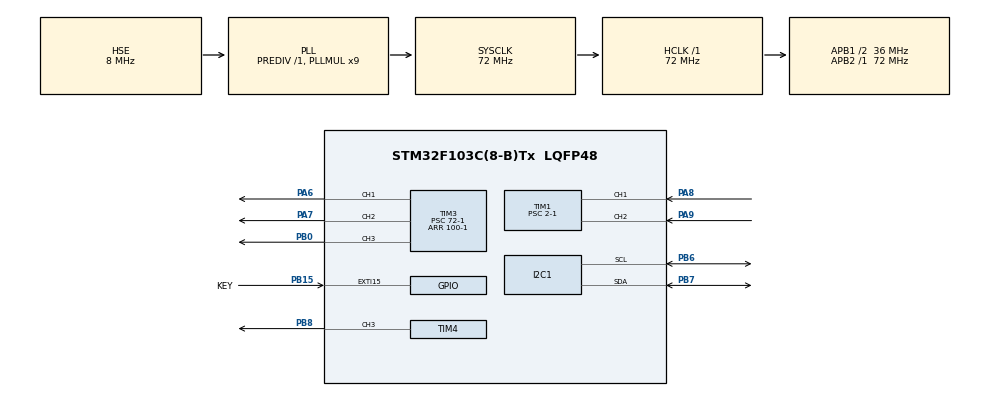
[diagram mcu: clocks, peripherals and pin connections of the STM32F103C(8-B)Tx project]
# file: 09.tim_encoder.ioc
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I2C1.I2C_Mode=I2C_Fast
Mcu.Family=STM32F1
Mcu.Name=STM32F103C(8-B)Tx
Mcu.Package=LQFP48
NVIC.EXTI15_10_IRQn=true\:15\:0\:true\:false\:true\:true\:true\:true
NVIC.PriorityGroup=NVIC_PRIORITYGROUP_4
PA13.Mode=Serial_Wire
PA13.Signal=SYS_JTMS-SWDIO
PA14.Mode=Serial_Wire
PA14.Signal=SYS_JTCK-SWCLK
PA6.Signal=S_TIM3_CH1
PA7.Signal=S_TIM3_CH2
PA8.Signal=S_TIM1_CH1
PA9.Signal=S_TIM1_CH2
PB0.Signal=S_TIM3_CH3
PB15.GPIO_Label=KEY
PB15.GPIO_ModeDefaultEXTI=GPIO_MODE_IT_FALLING
PB15.GPIO_PuPd=GPIO_PULLUP
PB15.Signal=GPXTI15
PB6.Mode=I2C
PB6.Signal=I2C1_SCL
PB7.Mode=I2C
PB7.Signal=I2C1_SDA
PB8.Signal=S_TIM4_CH3
PD0-OSC_IN.Mode=HSE-External-Oscillator
PD0-OSC_IN.Signal=RCC_OSC_IN
PD1-OSC_OUT.Mode=HSE-External-Oscillator
PD1-OSC_OUT.Signal=RCC_OSC_OUT
ProjectManager.HeapSize=0x200
ProjectManager.StackSize=0x400
ProjectManager.TargetToolchain=CMake
RCC.AHBFreq_Value=72000000
RCC.APB1CLKDivider=RCC_HCLK_DIV2
RCC.APB1Freq_Value=36000000
RCC.APB1TimFreq_Value=72000000
RCC.APB2Freq_Value=72000000
RCC.APB2TimFreq_Value=72000000
RCC.HCLKFreq_Value=72000000
RCC.PLLMUL=RCC_PLL_MUL9
RCC.PLLSourceVirtual=RCC_PLLSOURCE_HSE
RCC.SYSCLKFreq_VALUE=72000000
RCC.SYSCLKSource=RCC_SYSCLKSOURCE_PLLCLK
RCC.USBFreq_Value=72000000
SH.S_TIM1_CH1.0=TIM1_CH1,Encoder_Interface
SH.S_TIM1_CH2.0=TIM1_CH2,Encoder_Interface
SH.S_TIM3_CH1.0=TIM3_CH1,PWM Generation1 CH1
SH.S_TIM3_CH2.0=TIM3_CH2,PWM Generation2 CH2
SH.S_TIM3_CH3.0=TIM3_CH3,PWM Generation3 CH3
SH.S_TIM4_CH3.0=TIM4_CH3,PWM Generation3 CH3
TIM1.IC1Filter=15
TIM1.IC2Filter=15
TIM1.IC2Polarity=TIM_ICPOLARITY_FALLING
TIM1.Prescaler=2-1
TIM3.Channel-PWM\ Generation1\ CH1=TIM_CHANNEL_1
TIM3.Channel-PWM\ Generation2\ CH2=TIM_CHANNEL_2
TIM3.Channel-PWM\ Generation3\ CH3=TIM_CHANNEL_3
TIM3.Period=100-1
TIM3.Prescaler=72-1
TIM4.Channel-PWM\ Generation3\ CH3=TIM_CHANNEL_3
TIM4.OCPolarity_3=TIM_OCPOLARITY_HIGH
TIM4.Period=2000-1
TIM4.Prescaler=720-1
VP_TIM3_VS_ClockSourceINT.Mode=Internal
VP_TIM4_VS_ClockSourceINT.Mode=Internal
board=custom

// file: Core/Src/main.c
/* USER CODE BEGIN Header */
/**
  ******************************************************************************
  * @file           : main.c
  * @brief          : Main program body
  ******************************************************************************
  * @attention
  *
  * Copyright (c) 2026 STMicroelectronics.
  * All rights reserved.
  *
  * This software is licensed under terms that can be found in the LICENSE file
  * in the root directory of this software component.
  * If no LICENSE file comes with this software, it is provided AS-IS.
  *
  ******************************************************************************
  */
/* USER CODE END Header */
#include "main.h"
#include "i2c.h"
#include "stm32f1xx_hal_dma.h"
#include "stm32f1xx_hal_tim.h"
#include "tim.h"
#include "gpio.h"

/* USER CODE BEGIN Includes */
#include "oled.h"
#include <stdio.h>
#include <stdint.h>
#include "stdbool.h"
/* USER CODE END Includes */

/* USER CODE BEGIN PD */
#define BASE 32767  //使计数器以32767为原点，防止计数器从0减一到65535
#define INITIAL_BRIGHTNESS 50-BRIGHTNESS_STEP //初始数据和实际的INITIAL_BRIGHTNESS相差BRIGHTNESS_STEP，使程序开始进行时屏幕上显示出的信息是实际的INITIAL_BRIGHTNESS
#define INITIAL_DUTY 150-DUTY_STEP //初始数据和实际的INITIAL_DUTY相差DUTY_STEP，使程序开始进行时屏幕上显示出的信息是实际的INITIAL_BRIGHTNESS
#define MIN_BRIGHTNESS 0
#define MAX_BRIGHTNESS 255
#define MIN_DUTY 50
#define MAX_DUTY 250
#define BRIGHTNESS_STEP 1 //每个编码器脉冲时，brightness增加多少
#define DUTY_STEP -1*20 //每个编码器脉冲时，duty增加多少
#define CHANNEL_RED 2
#define CHANNEL_GREEN 1
#define CHANNEL_BLUE 0
/* USER CODE END PD */

/* USER CODE BEGIN PV */
uint16_t counter=0;
uint8_t duty=INITIAL_DUTY;//占空比转换：counter每加1，duty-=20
uint8_t brightness=INITIAL_BRIGHTNESS;//亮度转换：counter-BASE+50
uint8_t channel_index=CHANNEL_BLUE;
uint32_t channels[3]={TIM_CHANNEL_1,TIM_CHANNEL_2,TIM_CHANNEL_3};
/* USER CODE END PV */

void SystemClock_Config(void);

int main(void)
{

  /* MCU Configuration--------------------------------------------------------*/

  /* Reset of all peripherals, Initializes the Flash interface and the Systick. */
  HAL_Init();

  /* Configure the system clock */
  SystemClock_Config();

  /* Initialize all configured peripherals */
  MX_GPIO_Init();
  MX_I2C1_Init();
  MX_TIM1_Init();
  MX_TIM3_Init();
  MX_TIM4_Init();
  /* USER CODE BEGIN 2 */
  HAL_Delay(20);
  OLED_Init();

  HAL_TIM_Encoder_Start(&htim1, TIM_CHANNEL_ALL);
  HAL_TIM_PWM_Start(&htim3, channels[channel_index]);
  HAL_TIM_PWM_Start(&htim4, TIM_CHANNEL_3);
  __HAL_TIM_SET_COUNTER(&htim1, BASE+1);//初始数据和BASE相差1，用于触发更新，使程序开始进行时屏幕上就显示出信息
  __HAL_TIM_SET_COMPARE(&htim3, channels[channel_index], brightness);
  __HAL_TIM_SET_COMPARE(&htim4, TIM_CHANNEL_3, duty);
  /* USER CODE END 2 */

  /* Infinite loop */
  while (1)
  {

    /* USER CODE BEGIN 3 */
    uint16_t counter=__HAL_TIM_GET_COUNTER(&htim1);
    int16_t diff=(int16_t)(counter-BASE);
    if(diff){//计数器值产生变化时：
      //设置duty
      int16_t newduty=duty+DUTY_STEP*diff;
      if((newduty>=MIN_DUTY) && (newduty<=MAX_DUTY)){//若newduty还在MIN_DUTY(50)到MAX_DUTY(250)之间，则直接更改
        duty+=DUTY_STEP*diff;
      }
      else if(newduty<MIN_DUTY){//若newduty已经超出了MIN_DUTY(50)的范围，说明已经达到下限，则将其设为MIN_DUTY(50)
        duty=MIN_DUTY;
      }
      else if(newduty>MAX_DUTY){//若newduty已经超出了MAX_DUTY(250)的范围，说明已经达到下限，则将其设为MAX_DUTY(250)
        duty=MAX_DUTY;
      }
      __HAL_TIM_SET_COMPARE(&htim4, TIM_CHANNEL_3,duty);

      //设置brightness
      int16_t newbrightness=brightness+BRIGHTNESS_STEP*diff;
      if((newbrightness>=0) && (newbrightness<=255)){//若newbrightness还在MIN_BRIGHTNESS(0)到MAX_BRIGHTNESS(255)之间，则直接更改
        brightness+=BRIGHTNESS_STEP*diff;
      }
      else if(newbrightness<MIN_BRIGHTNESS){//若newbrightness已经超出了MIN_BRIGHTNESS(0)的范围，说明已经达到下限，则将其设为MIN_BRIGHTNESS(0)
        brightness=MIN_BRIGHTNESS;
      }
      else if(newbrightness>MAX_BRIGHTNESS){//若newbrightness已经超出了MAX_BRIGHTNESS(255)的范围，说明已经达到下限，则将其设为MAX_BRIGHTNESS(255)
        brightness=MAX_BRIGHTNESS;
      }
      __HAL_TIM_SET_COMPARE(&htim3, channels[channel_index],brightness);

      //重新锚定计数器为BASE(32767)，防止计数器越界
      __HAL_TIM_SET_COUNTER(&htim1, BASE);

      //OLED屏幕显示
      OLED_NewFrame();
      char message[20]="";
      sprintf(message, "brightness:%d",brightness);
      OLED_PrintString(0, 0, message, &font16x16, OLED_COLOR_NORMAL);
      sprintf(message, "duty:%d(%d.%d%%)",duty,(int)(2.5+(((float)duty-MIN_DUTY)/(MAX_DUTY-MIN_DUTY)*(12.5-2.5))),(int)(10*(2.5+(((float)duty-MIN_DUTY)/(MAX_DUTY-MIN_DUTY)*(12.5-2.5))))%10);//50-250 -> 2.5-12.5
      OLED_PrintString(0, 16, message, &font16x16, OLED_COLOR_NORMAL);
      OLED_ShowFrame();
    }
  }
  /* USER CODE END 3 */
}

void SystemClock_Config(void)
{
  RCC_OscInitTypeDef RCC_OscInitStruct = {0};
  RCC_ClkInitTypeDef RCC_ClkInitStruct = {0};

  /** Initializes the RCC Oscillators according to the specified parameters
  * in the RCC_OscInitTypeDef structure.
  */
  RCC_OscInitStruct.OscillatorType = RCC_OSCILLATORTYPE_HSE;
  RCC_OscInitStruct.HSEState = RCC_HSE_ON;
  RCC_OscInitStruct.HSEPredivValue = RCC_HSE_PREDIV_DIV1;
  RCC_OscInitStruct.HSIState = RCC_HSI_ON;
  RCC_OscInitStruct.PLL.PLLState = RCC_PLL_ON;
  RCC_OscInitStruct.PLL.PLLSource = RCC_PLLSOURCE_HSE;
  RCC_OscInitStruct.PLL.PLLMUL = RCC_PLL_MUL9;
  if (HAL_RCC_OscConfig(&RCC_OscInitStruct) != HAL_OK)
  {
    Error_Handler();
  }

  /** Initializes the CPU, AHB and APB buses clocks
  */
  RCC_ClkInitStruct.ClockType = RCC_CLOCKTYPE_HCLK|RCC_CLOCKTYPE_SYSCLK
                              |RCC_CLOCKTYPE_PCLK1|RCC_CLOCKTYPE_PCLK2;
  RCC_ClkInitStruct.SYSCLKSource = RCC_SYSCLKSOURCE_PLLCLK;
  RCC_ClkInitStruct.AHBCLKDivider = RCC_SYSCLK_DIV1;
  RCC_ClkInitStruct.APB1CLKDivider = RCC_HCLK_DIV2;
  RCC_ClkInitStruct.APB2CLKDivider = RCC_HCLK_DIV1;

  if (HAL_RCC_ClockConfig(&RCC_ClkInitStruct, FLASH_LATENCY_2) != HAL_OK)
  {
    Error_Handler();
  }
}

void Error_Handler(void)
{
  __disable_irq();
  while (1)
  {
  }
}
